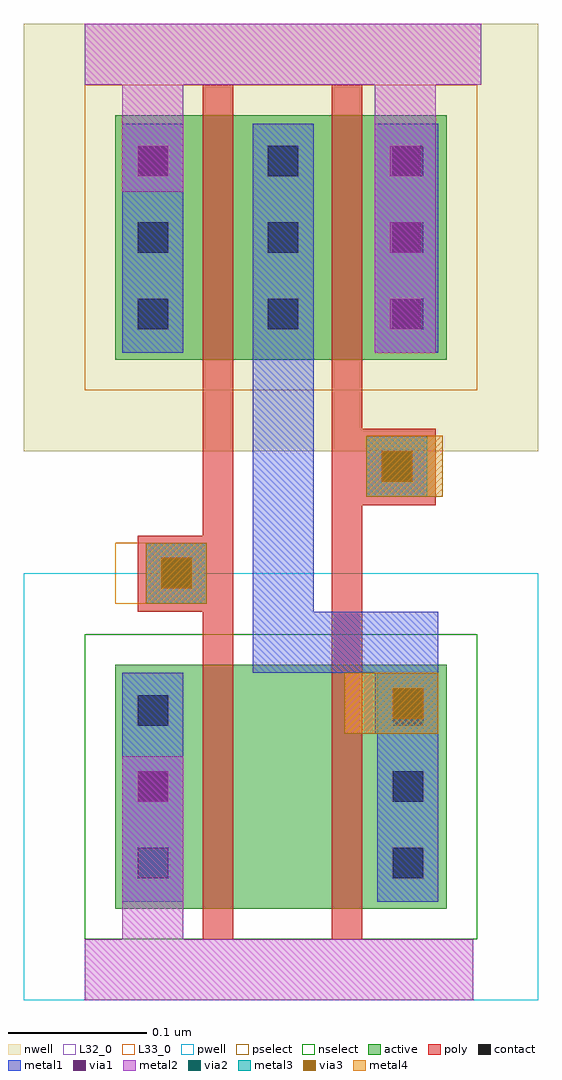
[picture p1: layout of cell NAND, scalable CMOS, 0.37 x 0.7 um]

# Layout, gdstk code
import gdstk
lib = gdstk.Library(unit=1e-6, precision=1e-09)
def R(c, l, rs):  # rectangles x0, y0, x1, y1
    for r in rs: c.add(gdstk.rectangle(r[:2], r[2:], *l))
def A(c, l, x, y, w, h, nx, ny, dx, dy):  # array of equal rectangles
    R(c, l, [(x+i*dx, y+j*dy, x+i*dx+w, y+j*dy+h) for i in range(nx) for j in range(ny)])
contact = (25, 0)
via3 = (30, 0)
metal4 = (31, 0)
L32_0 = (32, 0)
L33_0 = (33, 0)
pwell = (41, 0)
nwell = (42, 0)
active = (43, 0)
pselect = (44, 0)
nselect = (45, 0)
poly = (46, 0)
metal1 = (49, 0)
via1 = (50, 0)
metal2 = (51, 0)
via2 = (61, 0)
metal3 = (62, 0)

nand = lib.new_cell('NAND')
A(nand, contact, -0.22, -0.247, 0.022, 0.022, 1, 3, 0, 0.055)
A(nand, contact, -0.036, -0.247, 0.022, 0.022, 1, 3, 0, 0.055)
A(nand, contact, -0.22, 0.149, 0.022, 0.022, 1, 3, 0, 0.055)
A(nand, contact, -0.126, 0.149, 0.022, 0.022, 1, 3, 0, 0.055)
A(nand, contact, -0.036, 0.149, 0.022, 0.022, 1, 3, 0, 0.055)
R(nand, contact, [(-0.203,-0.038,-0.181,-0.016), (-0.044,0.039,-0.022,0.061)])
R(nand, via3, [(-0.036,-0.132,-0.014,-0.11), (-0.203,-0.038,-0.181,-0.016), (-0.044,0.039,-0.022,0.061)])
R(nand, metal4, [(-0.071,-0.143,-0.003,-0.099), (-0.047,-0.143,-0.003,-0.099), (-0.214,-0.049,-0.17,-0.005), (-0.214,-0.049,-0.17,-0.005), (-0.209,-0.044,-0.176,-0.011), (-0.055,0.028,-0.011,0.072), (-0.055,0.028,0,0.072)])
R(nand, L32_0, [(-0.203,-0.038,-0.181,-0.016)])
R(nand, L33_0, [(-0.236,-0.049,-0.17,-0.005), (-0.214,-0.049,-0.17,-0.005)])
R(nand, pwell, [(-0.302,-0.335,-0.115,-0.027), (-0.272,-0.335,-0.052,-0.027), (-0.192,-0.335,-0.027,-0.143), (-0.179,-0.335,0.041,-0.027), (-0.118,-0.335,0.069,-0.027), (-0.192,-0.308,-0.027,-0.027), (-0.286,-0.264,-0.121,-0.099), (-0.203,-0.264,-0.027,-0.099), (-0.192,-0.264,-0.027,-0.099), (-0.192,-0.264,-0.027,-0.06), (-0.11,-0.258,0.055,-0.093), (-0.192,-0.225,-0.027,-0.027)])
R(nand, nwell, [(-0.302,0.061,-0.115,0.369), (-0.272,0.061,-0.052,0.369), (-0.209,0.061,-0.022,0.369), (-0.179,0.061,0.041,0.369), (-0.118,0.061,0.069,0.369), (-0.198,0.127,-0.03,0.292), (-0.291,0.132,-0.121,0.297), (-0.203,0.132,-0.033,0.297), (-0.11,0.138,0.055,0.303)])
R(nand, active, [(-0.236,-0.269,-0.181,-0.093), (-0.206,-0.269,-0.118,-0.093), (-0.126,-0.269,-0.093,-0.209), (-0.113,-0.269,-0.025,-0.093), (-0.052,-0.269,0.003,-0.093), (-0.126,-0.242,-0.093,-0.093), (-0.22,-0.198,-0.187,-0.165), (-0.137,-0.198,-0.093,-0.165), (-0.126,-0.198,-0.093,-0.165), (-0.126,-0.198,-0.093,-0.126), (-0.044,-0.192,-0.011,-0.159), (-0.126,-0.159,-0.093,-0.093), (-0.236,0.127,-0.181,0.303), (-0.206,0.127,-0.118,0.303), (-0.143,0.127,-0.088,0.303), (-0.113,0.127,-0.025,0.303), (-0.052,0.127,0.003,0.303), (-0.132,0.193,-0.096,0.226), (-0.225,0.198,-0.187,0.231), (-0.137,0.198,-0.099,0.231), (-0.044,0.204,-0.011,0.237)])
R(nand, pselect, [(-0.258,0.105,-0.159,0.325), (-0.228,0.105,-0.096,0.325), (-0.165,0.105,-0.066,0.325), (-0.135,0.105,-0.003,0.325), (-0.074,0.105,0.025,0.325), (-0.154,0.171,-0.074,0.248), (-0.247,0.176,-0.165,0.253), (-0.159,0.176,-0.077,0.253), (-0.066,0.182,0.011,0.259)])
R(nand, nselect, [(-0.258,-0.291,-0.159,-0.071), (-0.228,-0.291,-0.096,-0.071), (-0.148,-0.291,-0.071,-0.187), (-0.135,-0.291,-0.003,-0.071), (-0.074,-0.291,0.025,-0.071), (-0.148,-0.264,-0.071,-0.071), (-0.242,-0.22,-0.165,-0.143), (-0.159,-0.22,-0.071,-0.143), (-0.148,-0.22,-0.071,-0.143), (-0.148,-0.22,-0.071,-0.104), (-0.066,-0.214,0.011,-0.137), (-0.148,-0.181,-0.071,-0.071)])
R(nand, poly, [(-0.173,-0.291,-0.151,-0.071), (-0.08,-0.291,-0.058,-0.071), (-0.173,-0.082,-0.151,-0.06), (-0.173,-0.082,-0.151,-0.011), (-0.08,-0.082,-0.058,-0.06), (-0.08,-0.082,-0.058,0.061), (-0.22,-0.055,-0.165,0), (-0.209,-0.033,-0.151,-0.011), (-0.173,-0.033,-0.151,0.116), (-0.06,0.022,-0.005,0.077), (-0.08,0.039,-0.022,0.061), (-0.08,0.039,-0.058,0.116), (-0.173,0.105,-0.151,0.325), (-0.08,0.105,-0.058,0.325)])
R(nand, metal1, [(-0.231,-0.264,-0.187,-0.099), (-0.047,-0.264,-0.003,-0.099), (-0.231,-0.203,-0.187,-0.159), (-0.047,-0.203,-0.003,-0.099), (-0.049,-0.143,-0.003,-0.099), (-0.047,-0.143,-0.003,-0.099), (-0.047,-0.143,-0.003,-0.055), (-0.137,-0.099,-0.093,0.215), (-0.137,-0.099,-0.003,-0.055), (-0.214,-0.049,-0.17,-0.005), (-0.214,-0.049,-0.17,-0.005), (-0.209,-0.044,-0.176,-0.011), (-0.055,0.028,-0.011,0.072), (-0.055,0.028,-0.011,0.072), (-0.055,0.028,-0.011,0.072), (-0.049,0.033,-0.016,0.066), (-0.231,0.132,-0.187,0.297), (-0.137,0.132,-0.093,0.297), (-0.049,0.132,-0.005,0.297), (-0.047,0.132,-0.003,0.297), (-0.027,0.132,-0.025,0.297), (-0.231,0.248,-0.187,0.292)])
A(nand, via1, -0.038, 0.149, 0.022, 0.022, 1, 3, 0, 0.055)
R(nand, via1, [(-0.22,-0.192,-0.198,-0.17), (-0.036,-0.132,-0.014,-0.11), (-0.203,-0.038,-0.181,-0.016), (-0.044,0.039,-0.022,0.061), (-0.22,0.259,-0.198,0.281)])
R(nand, metal2, [(-0.258,-0.335,-0.187,-0.291), (-0.231,-0.335,-0.187,-0.159), (-0.231,-0.335,0,-0.291), (-0.044,-0.335,0.022,-0.291), (-0.231,-0.203,-0.187,-0.159), (-0.047,-0.143,-0.003,-0.099), (-0.047,-0.143,-0.003,-0.099), (-0.041,-0.137,-0.008,-0.104), (-0.214,-0.049,-0.17,-0.005), (-0.214,-0.049,-0.17,-0.005), (-0.209,-0.044,-0.176,-0.011), (-0.055,0.028,-0.011,0.072), (-0.055,0.028,-0.011,0.072), (-0.049,0.033,-0.016,0.066), (-0.049,0.132,-0.005,0.297), (-0.049,0.193,-0.005,0.369), (-0.231,0.248,-0.187,0.292), (-0.231,0.248,-0.187,0.369), (-0.258,0.325,-0.187,0.369), (-0.231,0.325,-0.005,0.369), (-0.049,0.325,0.028,0.369)])
R(nand, via2, [(-0.036,-0.132,-0.014,-0.11), (-0.203,-0.038,-0.181,-0.016), (-0.044,0.039,-0.022,0.061)])
R(nand, metal3, [(-0.047,-0.143,-0.003,-0.099), (-0.047,-0.143,-0.003,-0.099), (-0.041,-0.137,-0.008,-0.104), (-0.214,-0.049,-0.17,-0.005), (-0.214,-0.049,-0.17,-0.005), (-0.209,-0.044,-0.176,-0.011), (-0.055,0.028,-0.011,0.072), (-0.055,0.028,-0.011,0.072), (-0.049,0.033,-0.016,0.066)])

lib.write_gds('NAND.gds')
